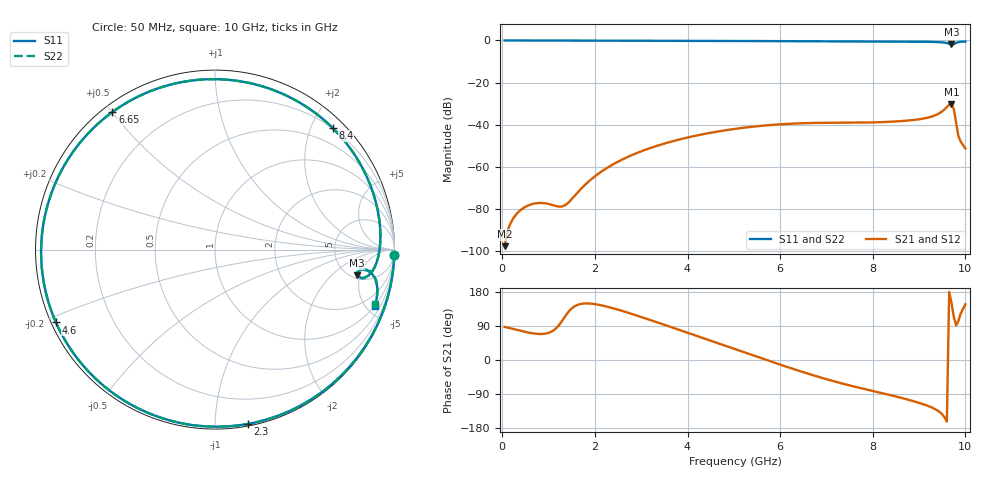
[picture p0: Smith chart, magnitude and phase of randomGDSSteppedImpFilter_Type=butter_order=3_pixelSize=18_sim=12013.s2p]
! freq	dB(S11)	phase(S11)	dB(S12)	phase(S12)
!  dB(S21)	phase(S21)	dB(S22)	phase(S22)
!S-par simulation data
#  GHz  S  DB  R 50
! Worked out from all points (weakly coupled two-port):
!   200 points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, 50 MHz to 10 GHz, reference 50 ohm
!   highest |S21| = -30.16 dB at 9.7 GHz (marker M1); lowest = -97.8 dB at 50 MHz (marker M2)
!   lowest |S11| = -1.9 dB at 9.7 GHz (marker M3), VSWR 9.15, Z = 273 - j222 ohm
!   |S11| at or under -10 dB: nowhere
!   |S22| runs from -1.9 to 0.0 dB; largest |S21 - S12| = 0
!   S11 on the Smith chart (normalised r, x): 50 MHz: 1, -64; 2.3 GHz: 0.01, -1.21; 4.6 GHz: 0.01, -0.22; 6.65 GHz: 0.03, +0.50; 8.4 GHz: 0.19, +2.34; 10 GHz: 0.98, -5.67
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0.05  -0.00 -1.8  -97.83 87.2  -97.83 87.2  -0.00 -1.8
0.4  -0.02 -14.2  -80.56 76.7  -80.56 76.7  -0.02 -14.2
0.8  -0.03 -28.2  -77.28 68.7  -77.28 68.7  -0.03 -28.2
1.3  -0.06 -45.5  -78.87 104.9  -78.87 104.9  -0.06 -45.5
1.75  -0.08 -60.9  -69.44 148.9  -69.44 148.9  -0.08 -60.9
2.3  -0.10 -79.3  -60.10 139.6  -60.10 139.6  -0.10 -79.3
3.4  -0.15 -115.5  -49.69 97.1  -49.69 97.1  -0.15 -115.5
4.6  -0.22 -155.4  -43.50 46.5  -43.50 46.5  -0.22 -155.3
5.05  -0.26 -171.1  -41.97 27.5  -41.97 27.5  -0.26 -170.9
5.85  -0.32 159.3  -40.11 -6.1  -40.11 -6.1  -0.32 159.6
6.65  -0.39 126.7  -39.27 -37.9  -39.27 -37.9  -0.39 127.1
6.7  -0.39 124.6  -39.24 -39.8  -39.24 -39.8  -0.39 124.9
7.15  -0.43 104.7  -39.13 -55.8  -39.13 -55.8  -0.43 105.1
7.55  -0.46 86.2  -39.10 -68.6  -39.10 -68.6  -0.45 86.7
8.35  -0.51 48.3  -38.69 -91.8  -38.69 -91.8  -0.51 48.9
8.4  -0.51 46.0  -38.64 -93.3  -38.64 -93.3  -0.51 46.5
9.15  -0.62 11.0  -36.90 -119.2  -36.90 -119.2  -0.62 11.6
9.45  -0.82 -2.8  -34.46 -137.9  -34.46 -137.9  -0.80 -2.2
9.7  -1.91 -10.4  -30.16 151.1  -30.16 151.1  -1.79 -11.1
9.75  -1.77 -7.6  -32.69 113.5  -32.69 113.5  -1.91 -8.8
9.85  -0.77 -10.8  -45.64 103.5  -45.64 103.5  -0.89 -9.7
10  -0.50 -19.5  -51.35 147.1  -51.35 147.1  -0.51 -18.6
